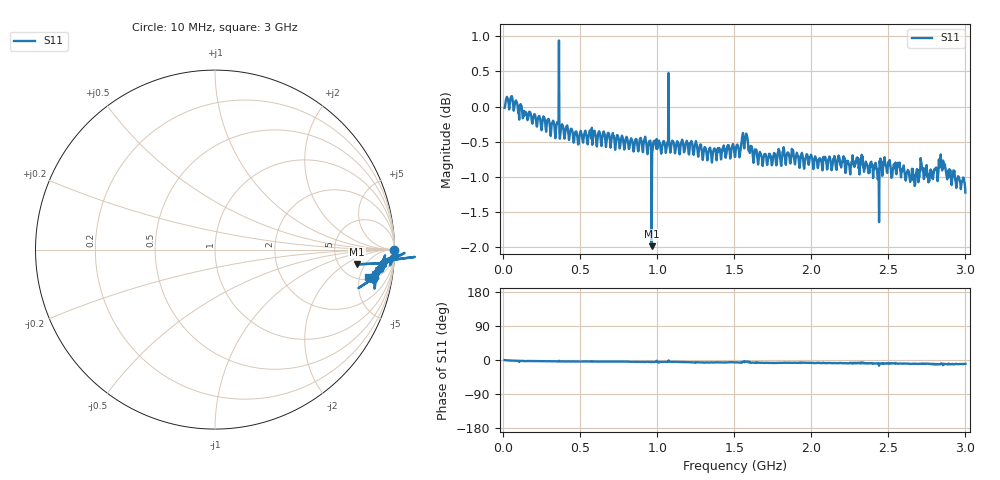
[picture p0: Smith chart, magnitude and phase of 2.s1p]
# HZ S RI R 50
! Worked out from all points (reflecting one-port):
!   1010 points, 10 MHz to 3 GHz, reference 50 ohm
!   lowest |S11| = -2.0 dB at 964.2 MHz (marker M1), VSWR 8.78, Z = 365 - j163 ohm
!   phase of S11 starts at -0 deg and turns -10 deg over the sweep
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1e7  0.9978 -0.00345
4.555996e7  1.007 -0.0239
1.166799e8  1 -0.0398
3.24113e8  0.9753 -0.0595
3.685629e8  0.9467 -0.061
3.863429e8  0.9679 -0.0617
7.597225e8  0.9345 -0.0675
9.34559e8  0.9272 -0.0727
9.641923e8  0.7913 -0.0819
1.056055e9  0.9237 -0.0773
1.059019e9  0.9289 -0.0753
1.133102e9  0.9401 -0.0844
1.296085e9  0.9103 -0.1039
1.506482e9  0.9151 -0.1023
1.539078e9  0.9226 -0.1063
1.571675e9  0.9457 -0.0713
1.625015e9  0.9052 -0.1111
1.879861e9  0.9235 -0.1194
2.253241e9  0.885 -0.1328
2.318434e9  0.8984 -0.131
2.451784e9  0.8949 -0.1395
2.516977e9  0.8907 -0.1378
2.62662e9  0.8888 -0.1503
2.712557e9  0.9001 -0.1561
2.774787e9  0.8884 -0.1561
2.819237e9  0.8665 -0.18
2.84887e9  0.8868 -0.1574
3e9  0.855 -0.1532
